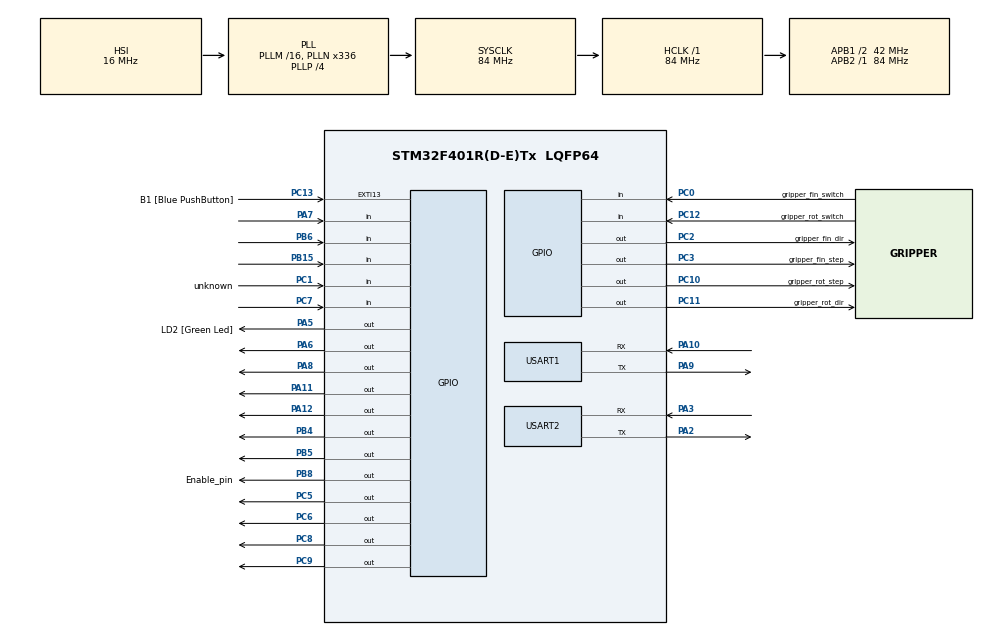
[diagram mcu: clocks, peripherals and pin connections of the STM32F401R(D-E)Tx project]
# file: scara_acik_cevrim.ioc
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Mcu.Family=STM32F4
Mcu.Name=STM32F401R(D-E)Tx
Mcu.Package=LQFP64
NVIC.PriorityGroup=NVIC_PRIORITYGROUP_4
NVIC.USART1_IRQn=true\:0\:0\:false\:false\:true\:true\:true\:true
NVIC.USART2_IRQn=true\:0\:0\:false\:false\:true\:true\:true\:true
PA10.Mode=Asynchronous
PA10.Signal=USART1_RX
PA11.Signal=GPIO_Output
PA12.Signal=GPIO_Output
PA13.GPIO_Label=TMS
PA13.Mode=Trace_Asynchronous_SW
PA13.Signal=SYS_JTMS-SWDIO
PA14.GPIO_Label=TCK
PA14.Mode=Trace_Asynchronous_SW
PA14.Signal=SYS_JTCK-SWCLK
PA2.Mode=Asynchronous
PA2.Signal=USART2_TX
PA3.Mode=Asynchronous
PA3.Signal=USART2_RX
PA5.GPIO_Label=LD2 [Green Led]
PA5.GPIO_Mode=GPIO_MODE_OUTPUT_PP
PA5.GPIO_PuPd=GPIO_NOPULL
PA5.GPIO_Speed=GPIO_SPEED_FREQ_LOW
PA5.Signal=GPIO_Output
PA6.Signal=GPIO_Output
PA7.Signal=GPIO_Input
PA8.Signal=GPIO_Output
PA9.Mode=Asynchronous
PA9.Signal=USART1_TX
PB15.Signal=GPIO_Input
PB3.GPIO_Label=SWO
PB3.Mode=Trace_Asynchronous_SW
PB3.Signal=SYS_JTDO-SWO
PB4.Signal=GPIO_Output
PB5.Signal=GPIO_Output
PB6.Signal=GPIO_Input
PB8.GPIO_Label=Enable_pin
PB8.Signal=GPIO_Output
PC0.GPIO_Label=gripper_fin_switch
PC0.Signal=GPIO_Input
PC1.GPIO_Label=unknown
PC1.Signal=GPIO_Input
PC10.GPIO_Label=gripper_rot_step
PC10.Signal=GPIO_Output
PC11.GPIO_Label=gripper_rot_dir
PC11.Signal=GPIO_Output
PC12.GPIO_Label=gripper_rot_switch
PC12.Signal=GPIO_Input
PC13-ANTI_TAMP.GPIO_Label=B1 [Blue PushButton]
PC13-ANTI_TAMP.GPIO_ModeDefaultEXTI=GPIO_MODE_IT_FALLING
PC13-ANTI_TAMP.GPIO_PuPd=GPIO_NOPULL
PC13-ANTI_TAMP.Signal=GPXTI13
PC14-OSC32_IN.Mode=LSE-External-Oscillator
PC14-OSC32_IN.Signal=RCC_OSC32_IN
PC15-OSC32_OUT.Mode=LSE-External-Oscillator
PC15-OSC32_OUT.Signal=RCC_OSC32_OUT
PC2.GPIO_Label=gripper_fin_dir
PC2.Signal=GPIO_Output
PC3.GPIO_Label=gripper_fin_step
PC3.Signal=GPIO_Output
PC5.Signal=GPIO_Output
PC6.Signal=GPIO_Output
PC7.GPIO_PuPd=GPIO_PULLDOWN
PC7.Signal=GPIO_Input
PC8.Signal=GPIO_Output
PC9.Signal=GPIO_Output
PH0\ -\ OSC_IN.Mode=HSE-External-Clock-Source
PH0\ -\ OSC_IN.Signal=RCC_OSC_IN
PH1\ -\ OSC_OUT.Mode=HSE-External-Clock-Source
PH1\ -\ OSC_OUT.Signal=RCC_OSC_OUT
ProjectManager.HeapSize=0x200
ProjectManager.StackSize=0x400
ProjectManager.TargetToolchain=STM32CubeIDE
RCC.48MHZClocksFreq_Value=48000000
RCC.AHBFreq_Value=84000000
RCC.APB1CLKDivider=RCC_HCLK_DIV2
RCC.APB1Freq_Value=42000000
RCC.APB1TimFreq_Value=84000000
RCC.APB2Freq_Value=84000000
RCC.APB2TimFreq_Value=84000000
RCC.CortexFreq_Value=84000000
RCC.HCLKFreq_Value=84000000
RCC.HSE_VALUE=8000000
RCC.HSI_VALUE=16000000
RCC.PLLN=336
RCC.PLLP=RCC_PLLP_DIV4
RCC.PLLQ=7
RCC.SYSCLKFreq_VALUE=84000000
RCC.SYSCLKSource=RCC_SYSCLKSOURCE_PLLCLK
RCC.VCOOutputFreq_Value=336000000
TIM1.AutoReloadPreload=TIM_AUTORELOAD_PRELOAD_ENABLE
TIM1.Prescaler=83
USART1.VirtualMode=VM_ASYNC
USART2.VirtualMode=VM_ASYNC
VP_TIM1_VS_ClockSourceINT.Mode=Internal
board=NUCLEO-F401RE

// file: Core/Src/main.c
/* USER CODE BEGIN Header */
/**
  ******************************************************************************
  * @file           : main.c
  * @brief          : Main program body
  * @date           : 09.06.2026
  * @author         : tunak
  * @AI             : Claude AI Sonnet 4.6
  ******************************************************************************
  *
  * DEĞİŞİKLİKLER (09.06.2026):
  *  - Austin ivme algoritması düzeltildi (steps_to_go > n koşulu korundu,
  *    delay güncelleme formülü 2*c / (4n+1) olarak standardize edildi)
  *  - Update_Motors(), Stepper_Update() üzerine refactor edildi (DRY)
  *  - Set_All_Motors_Synced() içinde c0 artık orantılanmıyor (sabit base_c0)
  *  - Set_Motor_Angle() içinde n sıfırlama ve current_delay = c0 garantilendi
  *  - Stepper_Update() yavaşlama bölgesinde steps_to_go == 0 guard eklendi
  *  - İlk pozisyon hareketi Set_Motor_Angle() → Set_All_Motors_Synced() ile
  *    değiştirildi; motorlar artık başlangıç pozisyonuna da senkron gidiyor
  *
  * HIZ AYARLARI:
  *  - Tepe hız          → min_delay  (düşürünce hızlanır, örn. 80~150 µs)
  *  - Kalkış yumuşaklığı→ c0         (artırınca yumuşar,  örn. 2000~4000 µs)
  *  - İvme agresifliği  → ACCEL_FACTOR define (artırınca sert ivmelenir)
  *  - Gripper hızı      → Stepper_Init içindeki min_delay / c0
  *  - Genel ayar noktası→ Set_All_Motors_Speed(min_delay, c0) çağrısı
  ******************************************************************************
  */
/* USER CODE END Header */

#include "main.h"

/* USER CODE BEGIN Includes */
#include "math.h"
#include <stdlib.h>
/* USER CODE END Includes */

/* USER CODE BEGIN PTD */

// -----------------------------------------------------------------------
// PAKET YAPISI
// -----------------------------------------------------------------------
typedef struct __attribute__((packed)) {
    uint8_t  start_byte;    // 0xFF        1 byte
    uint8_t  Mode;          //             1 byte
    float    Dist1;         //             4 byte
    float    Theta2;        //             4 byte
    float    Theta3;        //             4 byte
    float    Theta4;        //             4 byte
    float    Gripper_cmd;   //             4 byte
    uint16_t crc;           //             2 byte
    uint8_t  stop_byte;     // 0xFE        1 byte
} MatlabPacket_t;           // TOPLAM:    25 byte

typedef struct {
    float Dist1;
    float Theta2;
    float Theta3;
    float Theta4;
    float Gripper_cmd;
} RobotTarget_t;

typedef enum {
    Mode_MANUAL   = 0x01,
    Mode_TEACHPAD = 0x02,
    Mode_AUTO     = 0x03
} RobotMode;

// -----------------------------------------------------------------------
// STEP MOTOR STRUCT
// -----------------------------------------------------------------------
typedef struct {
    GPIO_TypeDef* step_port;
    uint16_t      step_pin;
    GPIO_TypeDef* dir_port;
    uint16_t      dir_pin;
    GPIO_TypeDef* limit_port;
    uint16_t      limit_pin;

    long     current_pos;
    long     target_pos;

    uint32_t last_step_time;
    float    current_delay;
    float    min_delay;

    long     n;
    float    c0;

    uint8_t  is_moving;
} Stepper_t;

// -----------------------------------------------------------------------
// GRİPPER STRUCT
// -----------------------------------------------------------------------
typedef enum {
    GRIPPER_IDLE,
    GRIPPER_GRIPPING,    // Parmaklar kapanıyor           (cmd=1)
    GRIPPER_ROTATING,    // +180° döner, saptan ayırır    (cmd=1)
    GRIPPER_RELEASING,   // Parmaklar açılıyor            (cmd=2)
    GRIPPER_UNROTATING   // -180° geri döner              (cmd=2)
} GripperState_t;

typedef struct {
    Stepper_t      finger;  // Parmak motoru
    Stepper_t      rotate;  // Rotasyon motoru
    GripperState_t state;
} Gripper_t;

// -----------------------------------------------------------------------
// CMD STATE (ana hareket için)
// -----------------------------------------------------------------------
typedef enum {
    CMD_IDLE,
    CMD_MOVING,
    CMD_GRIPPING
} CmdState;

/* USER CODE END PTD */

/* USER CODE BEGIN PD */
#define PRESCALER           83
#define STEPS_PER_REV       3200.0f

// -----------------------------------------------------------------------
// HIZ / İVME AYARI — BURADAN DEĞİŞTİR
// -----------------------------------------------------------------------
// ACCEL_FACTOR: İvme agresifliği. Artırınca daha sert ivmelenir/yavaşlar.
// Önerilen aralık: 1.2 ~ 2.5
#define ACCEL_FACTOR        1.2f

#define RX_BUFFER_SIZE      25

// -----------------------------------------------------------------------
// GRİPPER SABİTLERİ
// -----------------------------------------------------------------------
#define GRIPPER_GRIP_STEPS    5000      // Parmak kapanma adımı
#define GRIPPER_ROTATE_DEG    270.0f    // Catch rotasyon açısı +180°
#define GRIPPER_GEAR_RATIO    1.0f      // Rotasyon motoru dişli oranı
/* USER CODE END PD */

TIM_HandleTypeDef htim1;

UART_HandleTypeDef huart1;
UART_HandleTypeDef huart2;

/* USER CODE BEGIN PV */
Stepper_t    motors[4];
Gripper_t    gripper;

RobotTarget_t robotTarget;
uint8_t       rxBuffer[RX_BUFFER_SIZE];
RobotMode     current_mode      = Mode_MANUAL;

volatile uint8_t  new_packet_received = 0;
volatile uint8_t  pending_gripper     = 0;
volatile uint8_t  test_gripper_cmd    = 0;  // Debug
volatile CmdState cmd_state           = CMD_IDLE;
volatile uint32_t uart_irq_counter    = 0;

// -----------------------------------------------------------------------
// DEBUG — Live Expressions'a ekle:
//   debug_delay[0..3]       → anlık gecikme (µs), düşük = hızlı
//   debug_n[0..3]           → ivme adım sayacı
//   debug_steps_to_go[0..3] → hedefe kalan adım
// -----------------------------------------------------------------------
volatile float debug_delay[4]       = {0};
volatile long  debug_n[4]           = {0};
volatile long  debug_steps_to_go[4] = {0};
/* USER CODE END PV */

void SystemClock_Config(void);
static void MX_GPIO_Init(void);
static void MX_TIM1_Init(void);
static void MX_USART2_UART_Init(void);
static void MX_USART1_UART_Init(void);

/* USER CODE BEGIN 0 */

// -----------------------------------------------------------------------
// YARDIMCI: mikrosaniye sayacı
// -----------------------------------------------------------------------
extern TIM_HandleTypeDef htim1;

uint16_t get_micros(void) {
    return __HAL_TIM_GET_COUNTER(&htim1);
}

// -----------------------------------------------------------------------
// YARDIMCI: homing delay
// -----------------------------------------------------------------------
void delay_us_home(uint16_t us) {
    __HAL_TIM_SET_COUNTER(&htim1, 0);
    while (__HAL_TIM_GET_COUNTER(&htim1) < us);
}

// -----------------------------------------------------------------------
// YARDIMCI: DONE paketi gönder
// -----------------------------------------------------------------------
void Send_Done(void) {
    const char msg[] = "DONE\n";
    HAL_UART_Transmit(&huart1, (uint8_t*)msg, 5, 100);
}

// -----------------------------------------------------------------------
// CRC
// -----------------------------------------------------------------------
uint16_t Calculate_CRC16_Modbus(uint8_t *data, uint16_t length) {
    uint16_t crc  = 0xFFFF;
    uint16_t poly = 0xA001;
    for (uint16_t i = 0; i < length; i++) {
        crc ^= data[i];
        for (uint8_t j = 0; j < 8; j++) {
            if (crc & 1) crc = (crc >> 1) ^ poly;
            else         crc >>= 1;
        }
    }
    return crc;
}

// -----------------------------------------------------------------------
// PAKET İŞLEYİCİ
// -----------------------------------------------------------------------
uint8_t Process_Incoming_Packet(uint8_t* buffer, RobotTarget_t* target, RobotMode* mode) {
    MatlabPacket_t* packet = (MatlabPacket_t*)buffer;

    if (packet->start_byte != 0xFF || packet->stop_byte != 0xFE)
        return 0;

    // CRC: Mode'dan Gripper_cmd'ye kadar = 1 + 5*4 = 21 byte
    uint16_t calculated_crc = Calculate_CRC16_Modbus((uint8_t*)&packet->Mode, 21);
    if (calculated_crc != packet->crc)
        return 0;

    *mode                = (RobotMode)packet->Mode;
    target->Dist1        = packet->Dist1;
    target->Theta2       = packet->Theta2;
    target->Theta3       = packet->Theta3;
    target->Theta4       = packet->Theta4;
    target->Gripper_cmd  = packet->Gripper_cmd;

    return 1;
}

// -----------------------------------------------------------------------
// UART CALLBACK
// -----------------------------------------------------------------------
void HAL_UART_RxCpltCallback(UART_HandleTypeDef *huart) {
    if (huart->Instance == USART1) {
        uart_irq_counter++;
        if (Process_Incoming_Packet(rxBuffer, &robotTarget, &current_mode)) {
            new_packet_received = 1;
        }
        HAL_UART_Receive_IT(huart, rxBuffer, RX_BUFFER_SIZE);
    }
}

// -----------------------------------------------------------------------
// STEP MOTOR — TEMEL INIT
// -----------------------------------------------------------------------
void Stepper_Init(Stepper_t* m,
    GPIO_TypeDef* sp, uint16_t s_pin,
    GPIO_TypeDef* dp, uint16_t d_pin,
    GPIO_TypeDef* lp, uint16_t l_pin)
{
    m->step_port  = sp;  m->step_pin  = s_pin;
    m->dir_port   = dp;  m->dir_pin   = d_pin;
    m->limit_port = lp;  m->limit_pin = l_pin;

    m->current_pos   = 0;
    m->target_pos    = 0;
    m->is_moving     = 0;

    // ---------------------------------------------------------------
    // HIZ AYARLARI — Gripper motorları için varsayılan
    // Ana motorlar Set_All_Motors_Speed() ile eziyor, burası gripper için
    // min_delay: tepe hız (µs) — düşürünce hızlanır (önerilen: 60~150)
    // c0        : başlangıç gecikmesi — artırınca yumuşar  (önerilen: 1500~3000)
    // ---------------------------------------------------------------
    m->min_delay     = 150.0f;
    m->c0            = 2000.0f;
    m->current_delay = 2000.0f;
    m->n             = 0;
}

// motors[] dizisi için kolaylık wrapper
void Motor_Init(int index,
    GPIO_TypeDef* sp, uint16_t s_pin,
    GPIO_TypeDef* dp, uint16_t d_pin,
    GPIO_TypeDef* lp, uint16_t l_pin)
{
    Stepper_Init(&motors[index], sp, s_pin, dp, d_pin, lp, l_pin);
}

// -----------------------------------------------------------------------
// STEP MOTOR — AÇI AYARLA
// -----------------------------------------------------------------------
void Set_Motor_Angle(int index, float angle) {
    long target_steps = (long)((angle / 1.8f) * 16.0f);

    if (target_steps == motors[index].target_pos) return;

    motors[index].target_pos    = target_steps;
    motors[index].is_moving     = 1;
    motors[index].n             = 0;                         // ivme sayacını sıfırla
    motors[index].current_delay = motors[index].c0;          // c0'dan başla

    if (motors[index].target_pos > motors[index].current_pos)
        HAL_GPIO_WritePin(motors[index].dir_port, motors[index].dir_pin, GPIO_PIN_RESET);
    else
        HAL_GPIO_WritePin(motors[index].dir_port, motors[index].dir_pin, GPIO_PIN_SET);
}

// -----------------------------------------------------------------------
// STEP MOTOR — SENKRON HAREKET
// Tüm motorlar aynı anda başlar ve biter.
// min_delay orantılanır (yavaş motor daha yavaş tepe hıza çıkar),
// c0 sabit tutulur (hepsi aynı kalkış yumuşaklığıyla başlar).
// -----------------------------------------------------------------------
void Set_All_Motors_Synced(float a0, float a1, float a2, float a3) {
    long target0 = (long)((a0 / 1.8f) * 16.0f);
    long target1 = (long)((a1 / 1.8f) * 16.0f);
    long target2 = (long)((a2 / 1.8f) * 16.0f);
    long target3 = (long)((a3 / 1.8f) * 16.0f);

    long steps0 = labs(target0 - motors[0].current_pos);
    long steps1 = labs(target1 - motors[1].current_pos);
    long steps2 = labs(target2 - motors[2].current_pos);
    long steps3 = labs(target3 - motors[3].current_pos);

    long max_steps = steps0;
    if (steps1 > max_steps) max_steps = steps1;
    if (steps2 > max_steps) max_steps = steps2;
    if (steps3 > max_steps) max_steps = steps3;

    if (max_steps == 0) return;

    // ---------------------------------------------------------------
    // HIZ AYAR NOKTALARI — Set_All_Motors_Synced
    // base_min_delay: en hızlı (en çok adım atan) motorun tepe hızı
    // base_c0       : tüm motorların kalkış yumuşaklığı (sabit)
    // max_min_delay : motor3'e uygulanan tepe hız üst sınırı (kayış kayması önlemi)
    // ---------------------------------------------------------------
    float base_min_delay = 120.0f;
    float base_c0        = 2500.0f;
    float max_min_delay  = 800.0f;

    // min_delay orantılanır: az adım atan motor daha yavaş gider → senkron bitiş
    motors[0].min_delay = (steps0 > 0) ? base_min_delay * ((float)max_steps / (float)steps0) : 99999.0f;
    motors[1].min_delay = (steps1 > 0) ? base_min_delay * ((float)max_steps / (float)steps1) : 99999.0f;
    motors[2].min_delay = (steps2 > 0) ? base_min_delay * ((float)max_steps / (float)steps2) : 99999.0f;
    motors[3].min_delay = (steps3 > 0) ? fminf(base_min_delay * ((float)max_steps / (float)steps3), max_min_delay) : 99999.0f;

    // c0 sabit: hepsi aynı kalkış hızıyla başlar (tutarlı ivme profili)
    motors[0].c0 = base_c0;
    motors[1].c0 = base_c0;
    motors[2].c0 = base_c0;
    motors[3].c0 = base_c0;

    Set_Motor_Angle(0, a0);
    Set_Motor_Angle(1, a1);
    Set_Motor_Angle(2, a2);
    Set_Motor_Angle(3, a3);
}

// -----------------------------------------------------------------------
// STEP MOTOR — HIZ AYARLA (tüm motors[])
// Kullanım: Set_All_Motors_Speed(100.0f, 2000.0f)
//   - min_delay küçük  → hızlı
//   - c0 büyük         → yumuşak kalkış
// -----------------------------------------------------------------------
void Set_All_Motors_Speed(float min_delay, float c0) {
    for (int i = 0; i < 4; i++) {
        motors[i].min_delay     = min_delay;
        motors[i].c0            = c0;
        motors[i].current_delay = c0;
    }
}

// -----------------------------------------------------------------------
// STEP MOTOR — GÜNCELLE (tek Stepper_t* için)
// Austin (2004) trapezoidal hız profili.
// İvmelenme: steps_to_go > n  → delay azalt
// Yavaşlama: steps_to_go <= n → delay artır
// -----------------------------------------------------------------------
void Stepper_Update(Stepper_t* m) {
    if (!m->is_moving) return;

    if (m->current_pos == m->target_pos) {
        m->is_moving = 0;
        m->n = 0;
        return;
    }

    uint16_t now = get_micros();
    if ((uint16_t)(now - m->last_step_time) < (uint16_t)m->current_delay) return;

    // Adım at
    HAL_GPIO_WritePin(m->step_port, m->step_pin, GPIO_PIN_SET);
    for (volatile int k = 0; k < 5; k++);
    HAL_GPIO_WritePin(m->step_port, m->step_pin, GPIO_PIN_RESET);
    m->last_step_time = now;

    if (m->target_pos > m->current_pos) m->current_pos++;
    else                                m->current_pos--;

    long steps_to_go = labs(m->target_pos - m->current_pos);

    if (steps_to_go > m->n) {
        // İvmelenme bölgesi
        if (m->current_delay > m->min_delay) {
            m->n++;
            float new_delay = m->current_delay
                - (2.0f * m->current_delay) / (4.0f * (float)m->n + 1.0f);
            m->current_delay = (new_delay < m->min_delay) ? m->min_delay : new_delay;
        }
    } else {
        // Yavaşlama bölgesi
        if (steps_to_go > 0 && m->n > 0) {
            float new_delay = m->current_delay
                + (2.0f * m->current_delay) / (4.0f * (float)m->n + 1.0f);
            m->current_delay = new_delay;
            m->n--;
        }
    }
}

// -----------------------------------------------------------------------
// STEP MOTOR — ANA DÖNGÜ GÜNCELLEYİCİ (motors[0..3])
// Stepper_Update üzerine refactor edildi — tek kaynak, tutarlı davranış
// -----------------------------------------------------------------------
void Update_Motors(void) {
    for (int i = 0; i < 4; i++) {
        Stepper_Update(&motors[i]);

        // Debug snapshot — Live Expressions her iterasyonda buradan okur
        debug_delay[i]      = motors[i].current_delay;
        debug_n[i]          = motors[i].n;
        debug_steps_to_go[i]= labs(motors[i].target_pos - motors[i].current_pos);
    }
}

// -----------------------------------------------------------------------
// HOMING
// -----------------------------------------------------------------------
void Go_Home(int index) {
    // FAZ 1: Switch'e koş
    if (index == 0)
        HAL_GPIO_WritePin(motors[index].dir_port, motors[index].dir_pin, GPIO_PIN_SET);
    else if (index == 2)
        HAL_GPIO_WritePin(motors[index].dir_port, motors[index].dir_pin, GPIO_PIN_RESET);
    else
        HAL_GPIO_WritePin(motors[index].dir_port, motors[index].dir_pin, GPIO_PIN_SET);

    while (HAL_GPIO_ReadPin(motors[index].limit_port, motors[index].limit_pin) == GPIO_PIN_RESET) {
        HAL_GPIO_WritePin(motors[index].step_port, motors[index].step_pin, GPIO_PIN_SET);
        delay_us_home(150);
        HAL_GPIO_WritePin(motors[index].step_port, motors[index].step_pin, GPIO_PIN_RESET);
        delay_us_home(150);
    }

    // FAZ 2: Switch'ten kurtul
    if (index == 0)
        HAL_GPIO_WritePin(motors[index].dir_port, motors[index].dir_pin, GPIO_PIN_RESET);
    else if (index == 2)
        HAL_GPIO_WritePin(motors[index].dir_port, motors[index].dir_pin, GPIO_PIN_SET);
    else
        HAL_GPIO_WritePin(motors[index].dir_port, motors[index].dir_pin, GPIO_PIN_RESET);

    while (HAL_GPIO_ReadPin(motors[index].limit_port, motors[index].limit_pin) == GPIO_PIN_SET) {
        HAL_GPIO_WritePin(motors[index].step_port, motors[index].step_pin, GPIO_PIN_SET);
        delay_us_home(500);
        HAL_GPIO_WritePin(motors[index].step_port, motors[index].step_pin, GPIO_PIN_RESET);
        delay_us_home(500);
    }

    motors[index].current_pos = 0;
    motors[index].target_pos  = 0;
}

// -----------------------------------------------------------------------
// GRİPPER — İÇ YARDIMCI FONKSİYONLAR
// -----------------------------------------------------------------------

// Parmak motorunu hedef adıma gönder
// dir: 1 = kapat (GPIO_PIN_SET), 0 = aç (GPIO_PIN_RESET)
static void Gripper_SetFinger(long target_steps, uint8_t dir) {
    Stepper_t* m     = &gripper.finger;
    m->target_pos    = target_steps;
    m->is_moving     = 1;
    m->n             = 0;
    m->current_delay = m->c0;
    HAL_GPIO_WritePin(m->dir_port, m->dir_pin,
        dir ? GPIO_PIN_SET : GPIO_PIN_RESET);
}

// Rotasyon motorunu açıya gönder (göreceli hareket)
static void Gripper_SetRotate(float angle_deg) {
    Stepper_t* m = &gripper.rotate;

    long steps = (long)(fabsf(angle_deg) / 1.8f * 16.0f * GRIPPER_GEAR_RATIO);

    if (angle_deg >= 0) {
        HAL_GPIO_WritePin(m->dir_port, m->dir_pin, GPIO_PIN_SET);
        m->target_pos = m->current_pos + steps;
    } else {
        HAL_GPIO_WritePin(m->dir_port, m->dir_pin, GPIO_PIN_RESET);
        m->target_pos = m->current_pos - steps;
    }

    m->is_moving     = 1;
    m->n             = 0;
    m->current_delay = m->c0;
}

// -----------------------------------------------------------------------
// GRİPPER — STATE MACHINE (while içinde çağrılacak)
// -----------------------------------------------------------------------
// Operasyon sıraları:
//   cmd=1 → GRIPPING → ROTATING → IDLE
//   cmd=2 → RELEASING → UNROTATING → IDLE
// -----------------------------------------------------------------------
void Gripper_Update(void) {
    Stepper_Update(&gripper.finger);
    Stepper_Update(&gripper.rotate);

    switch (gripper.state) {
        case GRIPPER_IDLE:
            break;

        case GRIPPER_GRIPPING:
            if (!gripper.finger.is_moving) {
                Gripper_SetRotate(GRIPPER_ROTATE_DEG);
                gripper.state = GRIPPER_ROTATING;
            }
            break;

        case GRIPPER_ROTATING:
            if (!gripper.rotate.is_moving) {
                gripper.state = GRIPPER_IDLE;
            }
            break;

        case GRIPPER_RELEASING:
            if (!gripper.finger.is_moving) {
                Gripper_SetRotate(-GRIPPER_ROTATE_DEG);
                gripper.state = GRIPPER_UNROTATING;
            }
            break;

        case GRIPPER_UNROTATING:
            if (!gripper.rotate.is_moving) {
                gripper.state = GRIPPER_IDLE;
            }
            break;
    }
}

// -----------------------------------------------------------------------
// GRİPPER — KOMUT GİRİŞİ
// -----------------------------------------------------------------------
void Gripper_Command(uint8_t cmd) {
    switch (cmd) {
        case 1:
            // Tam sekans: parmakları kapat → döndür → IDLE
            Gripper_SetFinger(GRIPPER_GRIP_STEPS, 1);
            gripper.state = GRIPPER_GRIPPING;
            break;

        case 2:
            // Bırak: parmakları aç → geri döndür → IDLE
            Gripper_SetFinger(0, 0);
            gripper.state = GRIPPER_RELEASING;
            break;

        default:
            break;
    }
}

/* USER CODE END 0 */

int main(void)
{

  /* MCU Configuration--------------------------------------------------------*/

  /* Reset of all peripherals, Initializes the Flash interface and the Systick. */
  HAL_Init();

  /* Configure the system clock */
  SystemClock_Config();

  /* Initialize all configured peripherals */
  MX_GPIO_Init();
  MX_TIM1_Init();
  MX_USART2_UART_Init();
  MX_USART1_UART_Init();

  /* USER CODE BEGIN 2 */

    // UART interrupt başlat
    HAL_UART_Receive_IT(&huart1, rxBuffer, RX_BUFFER_SIZE);

    // Timer ayarları (Prescaler: 83 → 1MHz @ 84MHz APB2)
    __HAL_TIM_SET_PRESCALER(&htim1, 83);
    HAL_TIM_GenerateEvent(&htim1, TIM_EVENTSOURCE_UPDATE);
    __HAL_TIM_SET_COUNTER(&htim1, 0);
    HAL_TIM_Base_Start(&htim1);

    // ---------------------------------------------------------------
    // Motor tanımlamaları
    // ---------------------------------------------------------------
    Motor_Init(0, GPIOC, GPIO_PIN_9,  GPIOC, GPIO_PIN_8,  GPIOA, GPIO_PIN_7);
    // Motor0_STEP:PC9 | Motor0_DIR:PC8  | Motor0_LSWITCH:PA7

    Motor_Init(1, GPIOB, GPIO_PIN_5,  GPIOB, GPIO_PIN_4,  GPIOB, GPIO_PIN_6);
    // Motor1_STEP:PB5 | Motor1_DIR:PB4  | Motor1_LSWITCH:PB6

    Motor_Init(2, GPIOA, GPIO_PIN_6,  GPIOA, GPIO_PIN_5,  GPIOC, GPIO_PIN_7);
    // Motor2_STEP:PA6 | Motor2_DIR:PA5  | Motor2_LSWITCH:PC7

    Motor_Init(3, GPIOC, GPIO_PIN_5,  GPIOC, GPIO_PIN_6,  GPIOB, GPIO_PIN_15);
    // Motor3_STEP:PC5 | Motor3_DIR:PC6  | Motor3_LSWITCH:PB15

    // ---------------------------------------------------------------
    // Gripper motor tanımlamaları
    // *** PİNLERİ KENDİ DONANIM BAĞLANTINA GÖRE DEĞİŞTİR ***
    // ---------------------------------------------------------------
    Stepper_Init(&gripper.finger,
        GPIOC, GPIO_PIN_3,   // finger STEP
        GPIOC, GPIO_PIN_2,   // finger DIR
        GPIOC, GPIO_PIN_0);  // finger LIMIT

    Stepper_Init(&gripper.rotate,
        GPIOC, GPIO_PIN_10,  // rotate STEP
        GPIOC, GPIO_PIN_11,  // rotate DIR
        GPIOC, GPIO_PIN_12); // rotate LIMIT

    gripper.state = GRIPPER_IDLE;

    // ---------------------------------------------------------------
    // Homing
    // ---------------------------------------------------------------
    Go_Home(0);
    Go_Home(3);
    Go_Home(1);
    Go_Home(2);

    // ---------------------------------------------------------------
    // HIZ AYARI — ANA NOKTA
    // İlk argüman: min_delay (µs) — düşürünce hızlanır
    // İkinci argüman: c0 (µs)     — artırınca yumuşak kalkış
    // ---------------------------------------------------------------
    Set_All_Motors_Speed(200.0f, 2000.0f);

    // Enable sinyali
    HAL_GPIO_WritePin(GPIOB, GPIO_PIN_8, GPIO_PIN_RESET);

    // ---------------------------------------------------------------
    // İlk pozisyonlar — sıfırdan senkron hareket
    // Tüm motorlar aynı anda başlar ve biter.
    // ---------------------------------------------------------------
    Set_All_Motors_Synced(
         180.0f * 235.0f,
          90.0f *  32.86f,
         -90.0f *  33.86f,
          90.0f *  -6.77f
    );

    while (motors[0].is_moving || motors[1].is_moving ||
           motors[2].is_moving || motors[3].is_moving) {
        Update_Motors();
    }

    // Pozisyon sıfırlama — burası mekanik sıfır noktası
    motors[0].current_pos = 0;  motors[0].target_pos = 0;
    motors[1].current_pos = 0;  motors[1].target_pos = 0;
    motors[2].current_pos = 0;  motors[2].target_pos = 0;
    motors[3].current_pos = 0;  motors[3].target_pos = 0;

  /* USER CODE END 2 */

  /* Infinite loop */
  /* USER CODE BEGIN WHILE */
  while (1)
  {
      // ---------------------------------------------------------------
      // DEBUG: test_gripper_cmd STM32CubeIDE Live Watch ile set edilir
      // ---------------------------------------------------------------
      if (test_gripper_cmd != 0) {
          Gripper_Command(test_gripper_cmd);
          test_gripper_cmd = 0;
      }

      //new_packet_received = 1;

      Update_Motors();
      Gripper_Update();

      // ---------------------------------------------------------------
      // 1) Yeni paket geldi → hareketi başlat
      // ---------------------------------------------------------------
      if (new_packet_received == 1 && cmd_state == CMD_IDLE) {
          new_packet_received = 0;

          switch (current_mode) {
              case Mode_MANUAL:
              case Mode_TEACHPAD:
              case Mode_AUTO:
                  Set_All_Motors_Synced(
                      robotTarget.Dist1  * (-200.0f),
                      180.0f / 3.14159274f * robotTarget.Theta2 * -29.86f,
                      180.0f / 3.14159274f * (robotTarget.Theta3 + robotTarget.Theta2) * 15.55f,
                      180.0f / 3.14159274f * robotTarget.Theta4 * -6.0f
                  );
                  break;
          }

          pending_gripper = (uint8_t)robotTarget.Gripper_cmd;
          cmd_state = CMD_MOVING;
      }

      // ---------------------------------------------------------------
      // 2) Motorlar durdu mu?
      // ---------------------------------------------------------------
      if (cmd_state == CMD_MOVING &&
          !motors[0].is_moving &&
          !motors[1].is_moving &&
          !motors[2].is_moving &&
          !motors[3].is_moving)
      {
          if (pending_gripper != 0) {
              Gripper_Command(pending_gripper);
              pending_gripper = 0;
              cmd_state = CMD_GRIPPING;
          } else {
              Send_Done();
              cmd_state = CMD_IDLE;
          }
      }

      // ---------------------------------------------------------------
      // 3) Gripper işlemi bitti mi?
      // ---------------------------------------------------------------
      if (cmd_state == CMD_GRIPPING && gripper.state == GRIPPER_IDLE) {
          Send_Done();
          cmd_state = CMD_IDLE;
      }

    /* USER CODE END WHILE */

  }
}

void SystemClock_Config(void)
{
  RCC_OscInitTypeDef RCC_OscInitStruct = {0};
  RCC_ClkInitTypeDef RCC_ClkInitStruct = {0};

  __HAL_RCC_PWR_CLK_ENABLE();
  __HAL_PWR_VOLTAGESCALING_CONFIG(PWR_REGULATOR_VOLTAGE_SCALE2);

  RCC_OscInitStruct.OscillatorType = RCC_OSCILLATORTYPE_HSI;
  RCC_OscInitStruct.HSIState = RCC_HSI_ON;
  RCC_OscInitStruct.HSICalibrationValue = RCC_HSICALIBRATION_DEFAULT;
  RCC_OscInitStruct.PLL.PLLState = RCC_PLL_ON;
  RCC_OscInitStruct.PLL.PLLSource = RCC_PLLSOURCE_HSI;
  RCC_OscInitStruct.PLL.PLLM = 16;
  RCC_OscInitStruct.PLL.PLLN = 336;
  RCC_OscInitStruct.PLL.PLLP = RCC_PLLP_DIV4;
  RCC_OscInitStruct.PLL.PLLQ = 7;
  if (HAL_RCC_OscConfig(&RCC_OscInitStruct) != HAL_OK)
  {
    Error_Handler();
  }

  RCC_ClkInitStruct.ClockType = RCC_CLOCKTYPE_HCLK|RCC_CLOCKTYPE_SYSCLK
                              |RCC_CLOCKTYPE_PCLK1|RCC_CLOCKTYPE_PCLK2;
  RCC_ClkInitStruct.SYSCLKSource = RCC_SYSCLKSOURCE_PLLCLK;
  RCC_ClkInitStruct.AHBCLKDivider = RCC_SYSCLK_DIV1;
  RCC_ClkInitStruct.APB1CLKDivider = RCC_HCLK_DIV2;
  RCC_ClkInitStruct.APB2CLKDivider = RCC_HCLK_DIV1;

  if (HAL_RCC_ClockConfig(&RCC_ClkInitStruct, FLASH_LATENCY_2) != HAL_OK)
  {
    Error_Handler();
  }
}

static void MX_TIM1_Init(void)
{
  TIM_ClockConfigTypeDef sClockSourceConfig = {0};
  TIM_MasterConfigTypeDef sMasterConfig = {0};

  htim1.Instance = TIM1;
  htim1.Init.Prescaler = 83;
  htim1.Init.CounterMode = TIM_COUNTERMODE_UP;
  htim1.Init.Period = 65535;
  htim1.Init.ClockDivision = TIM_CLOCKDIVISION_DIV1;
  htim1.Init.RepetitionCounter = 0;
  htim1.Init.AutoReloadPreload = TIM_AUTORELOAD_PRELOAD_ENABLE;
  if (HAL_TIM_Base_Init(&htim1) != HAL_OK)
  {
    Error_Handler();
  }
  sClockSourceConfig.ClockSource = TIM_CLOCKSOURCE_INTERNAL;
  if (HAL_TIM_ConfigClockSource(&htim1, &sClockSourceConfig) != HAL_OK)
  {
    Error_Handler();
  }
  sMasterConfig.MasterOutputTrigger = TIM_TRGO_RESET;
  sMasterConfig.MasterSlaveMode = TIM_MASTERSLAVEMODE_DISABLE;
  if (HAL_TIMEx_MasterConfigSynchronization(&htim1, &sMasterConfig) != HAL_OK)
  {
    Error_Handler();
  }
}

static void MX_USART1_UART_Init(void)
{
  huart1.Instance = USART1;
  huart1.Init.BaudRate = 115200;
  huart1.Init.WordLength = UART_WORDLENGTH_8B;
  huart1.Init.StopBits = UART_STOPBITS_1;
  huart1.Init.Parity = UART_PARITY_NONE;
  huart1.Init.Mode = UART_MODE_TX_RX;
  huart1.Init.HwFlowCtl = UART_HWCONTROL_NONE;
  huart1.Init.OverSampling = UART_OVERSAMPLING_16;
  if (HAL_UART_Init(&huart1) != HAL_OK)
  {
    Error_Handler();
  }
}

static void MX_USART2_UART_Init(void)
{
  huart2.Instance = USART2;
  huart2.Init.BaudRate = 115200;
  huart2.Init.WordLength = UART_WORDLENGTH_8B;
  huart2.Init.StopBits = UART_STOPBITS_1;
  huart2.Init.Parity = UART_PARITY_NONE;
  huart2.Init.Mode = UART_MODE_TX_RX;
  huart2.Init.HwFlowCtl = UART_HWCONTROL_NONE;
  huart2.Init.OverSampling = UART_OVERSAMPLING_16;
  if (HAL_UART_Init(&huart2) != HAL_OK)
  {
    Error_Handler();
  }
}

static void MX_GPIO_Init(void)
{
  GPIO_InitTypeDef GPIO_InitStruct = {0};

  /* GPIO Ports Clock Enable */
  __HAL_RCC_GPIOC_CLK_ENABLE();
  __HAL_RCC_GPIOH_CLK_ENABLE();
  __HAL_RCC_GPIOA_CLK_ENABLE();
  __HAL_RCC_GPIOB_CLK_ENABLE();

  /*Configure GPIO pin Output Level */
  HAL_GPIO_WritePin(GPIOC, gripper_fin_dir_Pin|gripper_fin_step_Pin|GPIO_PIN_5|GPIO_PIN_6
                          |GPIO_PIN_8|GPIO_PIN_9|gripper_rot_step_Pin|gripper_rot_dir_Pin, GPIO_PIN_RESET);

  /*Configure GPIO pin Output Level */
  HAL_GPIO_WritePin(GPIOA, LD2_Pin|GPIO_PIN_6|GPIO_PIN_8|GPIO_PIN_11
                          |GPIO_PIN_12, GPIO_PIN_RESET);

  /*Configure GPIO pin Output Level */
  HAL_GPIO_WritePin(GPIOB, GPIO_PIN_4|GPIO_PIN_5|Enable_pin_Pin, GPIO_PIN_RESET);

  /*Configure GPIO pin : B1_Pin */
  GPIO_InitStruct.Pin = B1_Pin;
  GPIO_InitStruct.Mode = GPIO_MODE_IT_FALLING;
  GPIO_InitStruct.Pull = GPIO_NOPULL;
  HAL_GPIO_Init(B1_GPIO_Port, &GPIO_InitStruct);

  /*Configure GPIO pins : gripper_fin_switch_Pin unknown_Pin gripper_rot_switch_Pin */
  GPIO_InitStruct.Pin = gripper_fin_switch_Pin|unknown_Pin|gripper_rot_switch_Pin;
  GPIO_InitStruct.Mode = GPIO_MODE_INPUT;
  GPIO_InitStruct.Pull = GPIO_NOPULL;
  HAL_GPIO_Init(GPIOC, &GPIO_InitStruct);

  /*Configure GPIO pins : gripper_fin_dir_Pin gripper_fin_step_Pin PC5 PC6
                           PC8 PC9 gripper_rot_step_Pin gripper_rot_dir_Pin */
  GPIO_InitStruct.Pin = gripper_fin_dir_Pin|gripper_fin_step_Pin|GPIO_PIN_5|GPIO_PIN_6
                          |GPIO_PIN_8|GPIO_PIN_9|gripper_rot_step_Pin|gripper_rot_dir_Pin;
  GPIO_InitStruct.Mode = GPIO_MODE_OUTPUT_PP;
  GPIO_InitStruct.Pull = GPIO_NOPULL;
  GPIO_InitStruct.Speed = GPIO_SPEED_FREQ_LOW;
  HAL_GPIO_Init(GPIOC, &GPIO_InitStruct);

  /*Configure GPIO pins : LD2_Pin PA6 PA8 PA11 PA12 */
  GPIO_InitStruct.Pin = LD2_Pin|GPIO_PIN_6|GPIO_PIN_8|GPIO_PIN_11|GPIO_PIN_12;
  GPIO_InitStruct.Mode = GPIO_MODE_OUTPUT_PP;
  GPIO_InitStruct.Pull = GPIO_NOPULL;
  GPIO_InitStruct.Speed = GPIO_SPEED_FREQ_LOW;
  HAL_GPIO_Init(GPIOA, &GPIO_InitStruct);

  /*Configure GPIO pin : PA7 */
  GPIO_InitStruct.Pin = GPIO_PIN_7;
  GPIO_InitStruct.Mode = GPIO_MODE_INPUT;
  GPIO_InitStruct.Pull = GPIO_NOPULL;
  HAL_GPIO_Init(GPIOA, &GPIO_InitStruct);

  /*Configure GPIO pins : PB15 PB6 */
  GPIO_InitStruct.Pin = GPIO_PIN_15|GPIO_PIN_6;
  GPIO_InitStruct.Mode = GPIO_MODE_INPUT;
  GPIO_InitStruct.Pull = GPIO_NOPULL;
  HAL_GPIO_Init(GPIOB, &GPIO_InitStruct);

  /*Configure GPIO pin : PC7 */
  GPIO_InitStruct.Pin = GPIO_PIN_7;
  GPIO_InitStruct.Mode = GPIO_MODE_INPUT;
  GPIO_InitStruct.Pull = GPIO_PULLDOWN;
  HAL_GPIO_Init(GPIOC, &GPIO_InitStruct);

  /*Configure GPIO pins : PB4 PB5 Enable_pin_Pin */
  GPIO_InitStruct.Pin = GPIO_PIN_4|GPIO_PIN_5|Enable_pin_Pin;
  GPIO_InitStruct.Mode = GPIO_MODE_OUTPUT_PP;
  GPIO_InitStruct.Pull = GPIO_NOPULL;
  GPIO_InitStruct.Speed = GPIO_SPEED_FREQ_LOW;
  HAL_GPIO_Init(GPIOB, &GPIO_InitStruct);
}

void Error_Handler(void)
{
  __disable_irq();
  while (1)
  {
  }
}
